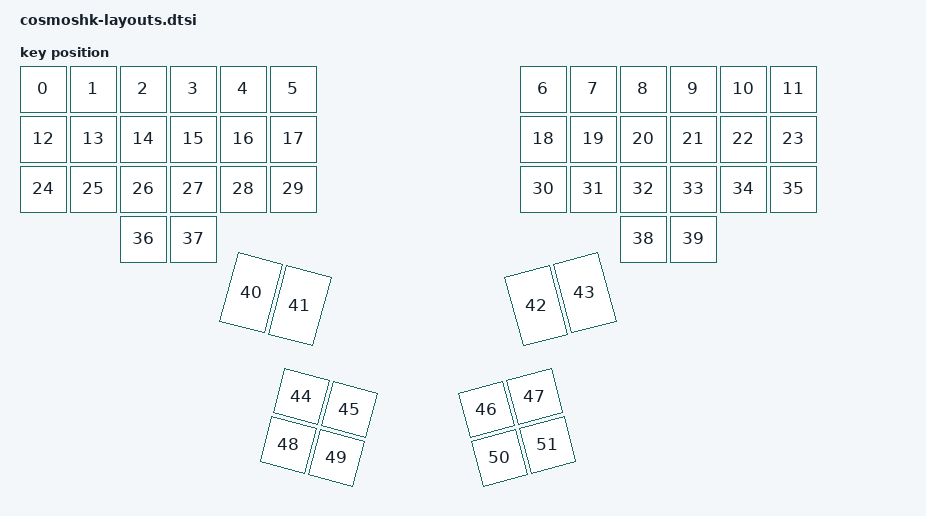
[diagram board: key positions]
#include <physical_layouts.dtsi>

/ {
    physical_layout0: physical_layout_0 {
        compatible = "zmk,physical-layout";
        display-name = "cosmoshk Layout";
        kscan = <&kscan0>;
        transform = <&matrix_transform0>;

        
        keys  //                     w   h    x    y     rot    rx    ry
            = <&key_physical_attrs 100 100    0    0       0     0     0>
            , <&key_physical_attrs 100 100  100    0       0     0     0>
            , <&key_physical_attrs 100 100  200    0       0     0     0>
            , <&key_physical_attrs 100 100  300    0       0     0     0>
            , <&key_physical_attrs 100 100  400    0       0     0     0>
            , <&key_physical_attrs 100 100  500    0       0     0     0>
            , <&key_physical_attrs 100 100 1000    0       0     0     0>
            , <&key_physical_attrs 100 100 1100    0       0     0     0>
            , <&key_physical_attrs 100 100 1200    0       0     0     0>
            , <&key_physical_attrs 100 100 1300    0       0     0     0>
            , <&key_physical_attrs 100 100 1400    0       0     0     0>
            , <&key_physical_attrs 100 100 1500    0       0     0     0>
            , <&key_physical_attrs 100 100    0  100       0     0     0>
            , <&key_physical_attrs 100 100  100  100       0     0     0>
            , <&key_physical_attrs 100 100  200  100       0     0     0>
            , <&key_physical_attrs 100 100  300  100       0     0     0>
            , <&key_physical_attrs 100 100  400  100       0     0     0>
            , <&key_physical_attrs 100 100  500  100       0     0     0>
            , <&key_physical_attrs 100 100 1000  100       0     0     0>
            , <&key_physical_attrs 100 100 1100  100       0     0     0>
            , <&key_physical_attrs 100 100 1200  100       0     0     0>
            , <&key_physical_attrs 100 100 1300  100       0     0     0>
            , <&key_physical_attrs 100 100 1400  100       0     0     0>
            , <&key_physical_attrs 100 100 1500  100       0     0     0>
            , <&key_physical_attrs 100 100    0  200       0     0     0>
            , <&key_physical_attrs 100 100  100  200       0     0     0>
            , <&key_physical_attrs 100 100  200  200       0     0     0>
            , <&key_physical_attrs 100 100  300  200       0     0     0>
            , <&key_physical_attrs 100 100  400  200       0     0     0>
            , <&key_physical_attrs 100 100  500  200       0     0     0>
            , <&key_physical_attrs 100 100 1000  200       0     0     0>
            , <&key_physical_attrs 100 100 1100  200       0     0     0>
            , <&key_physical_attrs 100 100 1200  200       0     0     0>
            , <&key_physical_attrs 100 100 1300  200       0     0     0>
            , <&key_physical_attrs 100 100 1400  200       0     0     0>
            , <&key_physical_attrs 100 100 1500  200       0     0     0>
            , <&key_physical_attrs 100 100  200  300       0     0     0>
            , <&key_physical_attrs 100 100  300  300       0     0     0>
            , <&key_physical_attrs 100 100 1200  300       0     0     0>
            , <&key_physical_attrs 100 100 1300  300       0     0     0>
            , <&key_physical_attrs 100 150  450  400    1500   550   340>
            , <&key_physical_attrs 100 150  550  400    1500   550   340>
            , <&key_physical_attrs 100 150  950  400 (-1500)  1050   340>
            , <&key_physical_attrs 100 150 1050  400 (-1500)  1050   340>
            , <&key_physical_attrs 100 100  600  600    1500   550   340>
            , <&key_physical_attrs 100 100  700  600    1500   550   340>
            , <&key_physical_attrs 100 100  800  600 (-1500)  1050   340>
            , <&key_physical_attrs 100 100  900  600 (-1500)  1050   340>
            , <&key_physical_attrs 100 100  600  700    1500   550   340>
            , <&key_physical_attrs 100 100  700  700    1500   550   340>
            , <&key_physical_attrs 100 100  800  700 (-1500)  1050   340>
            , <&key_physical_attrs 100 100  900  700 (-1500)  1050   340>
            ;
  };
};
